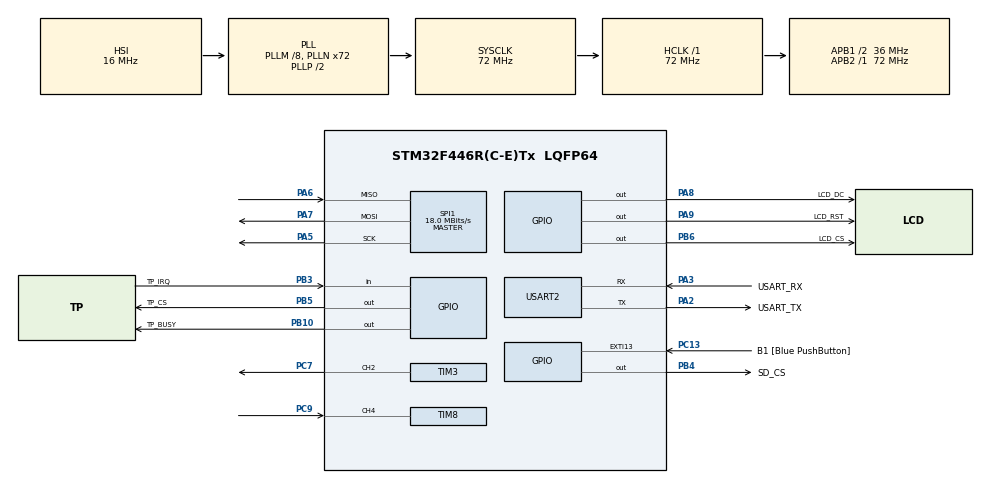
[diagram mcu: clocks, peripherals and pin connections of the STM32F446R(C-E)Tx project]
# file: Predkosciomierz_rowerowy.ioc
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Mcu.Family=STM32F4
Mcu.Name=STM32F446R(C-E)Tx
Mcu.Package=LQFP64
NVIC.PriorityGroup=NVIC_PRIORITYGROUP_0
NVIC.TIM6_DAC_IRQn=true\:0\:0\:false\:false\:true\:true\:true
NVIC.TIM8_CC_IRQn=true\:0\:0\:false\:false\:true\:true\:true
NVIC.USART2_IRQn=true\:0\:0\:false\:false\:true\:true\:true
PA13.GPIO_Label=TMS
PA13.Mode=Serial_Wire
PA13.Signal=SYS_JTMS-SWDIO
PA14.GPIO_Label=TCK
PA14.Mode=Serial_Wire
PA14.Signal=SYS_JTCK-SWCLK
PA2.GPIO_Label=USART_TX
PA2.Mode=Asynchronous
PA2.Signal=USART2_TX
PA3.GPIO_Label=USART_RX
PA3.Mode=Asynchronous
PA3.Signal=USART2_RX
PA5.Mode=Full_Duplex_Master
PA5.Signal=SPI1_SCK
PA6.Mode=Full_Duplex_Master
PA6.Signal=SPI1_MISO
PA7.Mode=Full_Duplex_Master
PA7.Signal=SPI1_MOSI
PA8.GPIO_Label=LCD_DC
PA8.Signal=GPIO_Output
PA9.GPIO_Label=LCD_RST
PA9.Signal=GPIO_Output
PB10.GPIO_Label=TP_BUSY
PB10.Signal=GPIO_Output
PB3.GPIO_Label=TP_IRQ
PB3.Signal=GPIO_Input
PB4.GPIO_Label=SD_CS
PB4.Signal=GPIO_Output
PB5.GPIO_Label=TP_CS
PB5.Signal=GPIO_Output
PB6.GPIO_Label=LCD_CS
PB6.Signal=GPIO_Output
PC13.GPIO_Label=B1 [Blue PushButton]
PC13.GPIO_ModeDefaultEXTI=GPIO_MODE_IT_FALLING
PC13.Signal=GPXTI13
PC14-OSC32_IN.Mode=LSE-External-Oscillator
PC14-OSC32_IN.Signal=RCC_OSC32_IN
PC15-OSC32_OUT.Mode=LSE-External-Oscillator
PC15-OSC32_OUT.Signal=RCC_OSC32_OUT
PC7.Signal=S_TIM3_CH2
PC9.Signal=S_TIM8_CH4
PH0-OSC_IN.Mode=HSE-External-Oscillator
PH0-OSC_IN.Signal=RCC_OSC_IN
PH1-OSC_OUT.Mode=HSE-External-Oscillator
PH1-OSC_OUT.Signal=RCC_OSC_OUT
ProjectManager.HeapSize=0x200
ProjectManager.StackSize=0x400
ProjectManager.TargetToolchain=MDK-ARM V5.27
RCC.48MHZClocksFreq_Value=84000000
RCC.AHBFreq_Value=72000000
RCC.APB1CLKDivider=RCC_HCLK_DIV2
RCC.APB1Freq_Value=36000000
RCC.APB1TimFreq_Value=72000000
RCC.APB2Freq_Value=72000000
RCC.APB2TimFreq_Value=72000000
RCC.CortexFreq_Value=72000000
RCC.FLatency-AdvancedSettings=FLASH_LATENCY_2
RCC.HCLKFreq_Value=72000000
RCC.HSE_VALUE=8000000
RCC.HSI_VALUE=16000000
RCC.PLLM=8
RCC.PLLN=72
RCC.SYSCLKFreq_VALUE=72000000
RCC.SYSCLKSource=RCC_SYSCLKSOURCE_PLLCLK
RCC.USBFreq_Value=72000000
RCC.VCOOutputFreq_Value=144000000
SH.S_TIM3_CH2.0=TIM3_CH2,PWM Generation2 CH2
SH.S_TIM8_CH4.0=TIM8_CH4,Input_Capture4_from_TI4
SPI1.BaudRatePrescaler=SPI_BAUDRATEPRESCALER_4
SPI1.CalculateBaudRate=18.0 MBits/s
SPI1.Direction=SPI_DIRECTION_2LINES
SPI1.Mode=SPI_MODE_MASTER
SPI1.VirtualType=VM_MASTER
TIM3.Channel-PWM\ Generation2\ CH2=TIM_CHANNEL_2
TIM3.Period=1000-1
TIM3.Prescaler=720-1
TIM6.AutoReloadPreload=TIM_AUTORELOAD_PRELOAD_ENABLE
TIM6.Period=5000-1
TIM6.Prescaler=14400-1
TIM8.AutoReloadPreload=TIM_AUTORELOAD_PRELOAD_DISABLE
TIM8.Channel-Input_Capture4_from_TI4=TIM_CHANNEL_4
TIM8.Period=65000-1
TIM8.Prescaler=14400-1
USART2.VirtualMode=VM_ASYNC
VP_TIM6_VS_ClockSourceINT.Mode=Enable_Timer
board=NUCLEO-F446RE

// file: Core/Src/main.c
/* USER CODE BEGIN Header */
/**
  ******************************************************************************
  * @file           : main.c
  * @brief          : Main program body
  ******************************************************************************
  * @attention
  *
  * <h2><center>&copy; Copyright (c) 2021 STMicroelectronics.
  * All rights reserved.</center></h2>
  *
  * This software component is licensed by ST under BSD 3-Clause license,
  * the "License"; You may not use this file except in compliance with the
  * License. You may obtain a copy of the License at:
  *                        opensource.org/licenses/BSD-3-Clause
  *
  ******************************************************************************
  */
/* USER CODE END Header */
#include "main.h"
#include "spi.h"
#include "tim.h"
#include "usart.h"
#include "gpio.h"

#include "DEV_Config.h"
#include "LCD_Driver.h"
#include "LCD_GUI.h"
#include "LCD_Touch.h"
#include "BikeSpeedo.h"

/* USER CODE BEGIN Includes */
uint32_t IC_Value = 0;
/* USER CODE END Includes */

void SystemClock_Config(void);

int main(void)
{

  /* MCU Configuration--------------------------------------------------------*/

  /* Reset of all peripherals, Initializes the Flash interface and the Systick. */
  HAL_Init();

  /* Configure the system clock */
  SystemClock_Config();

  /* Initialize all configured peripherals */
  MX_GPIO_Init();
  MX_SPI1_Init();
  MX_TIM3_Init();
  MX_USART2_UART_Init();
  MX_TIM8_Init();
  MX_TIM6_Init();
  /* USER CODE BEGIN 2 */
	LCD_SCAN_DIR Lcd_ScanDir = SCAN_DIR_DFT;//SCAN_DIR_DFT = D2U_L2R
	LCD_Init(Lcd_ScanDir, 1000);
	TP_Init(Lcd_ScanDir);

	TP_GetAdFac();
	init();

	HAL_TIM_IC_Start_IT(&htim8, TIM_CHANNEL_4);
  /* USER CODE END 2 */

  /* Infinite loop */
  while (1)
  {
		TP_Scan(0);
		if (sTP_DEV.chStatus & TP_PRESS_DOWN) // Update only when sth was touched
		{
			processInput();
		}
  }
}

void SystemClock_Config(void)
{
  RCC_OscInitTypeDef RCC_OscInitStruct = {0};
  RCC_ClkInitTypeDef RCC_ClkInitStruct = {0};

  /** Configure the main internal regulator output voltage
  */
  __HAL_RCC_PWR_CLK_ENABLE();
  __HAL_PWR_VOLTAGESCALING_CONFIG(PWR_REGULATOR_VOLTAGE_SCALE3);
  /** Initializes the RCC Oscillators according to the specified parameters
  * in the RCC_OscInitTypeDef structure.
  */
  RCC_OscInitStruct.OscillatorType = RCC_OSCILLATORTYPE_HSI;
  RCC_OscInitStruct.HSIState = RCC_HSI_ON;
  RCC_OscInitStruct.HSICalibrationValue = RCC_HSICALIBRATION_DEFAULT;
  RCC_OscInitStruct.PLL.PLLState = RCC_PLL_ON;
  RCC_OscInitStruct.PLL.PLLSource = RCC_PLLSOURCE_HSI;
  RCC_OscInitStruct.PLL.PLLM = 8;
  RCC_OscInitStruct.PLL.PLLN = 72;
  RCC_OscInitStruct.PLL.PLLP = RCC_PLLP_DIV2;
  RCC_OscInitStruct.PLL.PLLQ = 2;
  RCC_OscInitStruct.PLL.PLLR = 2;
  if (HAL_RCC_OscConfig(&RCC_OscInitStruct) != HAL_OK)
  {
    Error_Handler();
  }
  /** Initializes the CPU, AHB and APB buses clocks
  */
  RCC_ClkInitStruct.ClockType = RCC_CLOCKTYPE_HCLK|RCC_CLOCKTYPE_SYSCLK
                              |RCC_CLOCKTYPE_PCLK1|RCC_CLOCKTYPE_PCLK2;
  RCC_ClkInitStruct.SYSCLKSource = RCC_SYSCLKSOURCE_PLLCLK;
  RCC_ClkInitStruct.AHBCLKDivider = RCC_SYSCLK_DIV1;
  RCC_ClkInitStruct.APB1CLKDivider = RCC_HCLK_DIV2;
  RCC_ClkInitStruct.APB2CLKDivider = RCC_HCLK_DIV1;

  if (HAL_RCC_ClockConfig(&RCC_ClkInitStruct, FLASH_LATENCY_2) != HAL_OK)
  {
    Error_Handler();
  }
}

/* USER CODE BEGIN 4 */
void HAL_TIM_IC_CaptureCallback(TIM_HandleTypeDef *htim)
{
	if ((htim==&htim8)&&(htim->Channel == HAL_TIM_ACTIVE_CHANNEL_4))  // if interrput source is channel 3
	{
		IC_Value = HAL_TIM_ReadCapturedValue(&htim8, TIM_CHANNEL_4);
		IC_Value = IC_Value / 5;
		__HAL_TIM_SET_COUNTER(&htim8, 0);
	}
}

void HAL_TIM_PeriodElapsedCallback(TIM_HandleTypeDef *htim)
{
	if(htim->Instance == TIM6)
	{
		updateVelocityValue(IC_Value);

		if (__HAL_TIM_GET_COUNTER(&htim8) > 25000) //5s
			IC_Value = 0;
	}
}

/* USER CODE END 4 */

void Error_Handler(void)
{
  __disable_irq();
  while (1)
  {
  }
}

/************************ (C) COPYRIGHT STMicroelectronics *****END OF FILE****/
